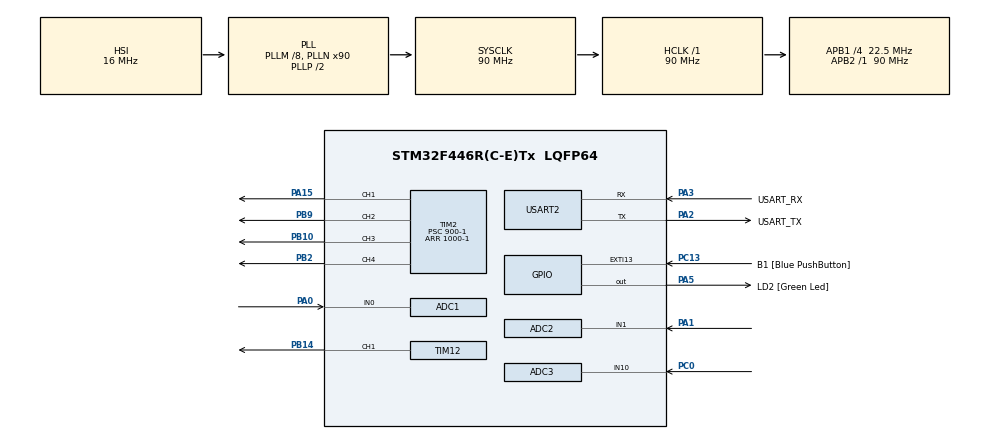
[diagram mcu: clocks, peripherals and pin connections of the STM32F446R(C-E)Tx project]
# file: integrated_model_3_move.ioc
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ADC1.Channel-0\#ChannelRegularConversion=ADC_CHANNEL_0
ADC1.ClockPrescaler=ADC_CLOCK_SYNC_PCLK_DIV4
ADC1.NbrOfConversionFlag=1
ADC1.Rank-0\#ChannelRegularConversion=1
ADC1.SamplingTime-0\#ChannelRegularConversion=ADC_SAMPLETIME_3CYCLES
ADC1.master=1
ADC2.Channel-0\#ChannelRegularConversion=ADC_CHANNEL_1
ADC2.ClockPrescaler=ADC_CLOCK_SYNC_PCLK_DIV4
ADC2.NbrOfConversionFlag=1
ADC2.Rank-0\#ChannelRegularConversion=1
ADC2.SamplingTime-0\#ChannelRegularConversion=ADC_SAMPLETIME_3CYCLES
ADC3.Channel-0\#ChannelRegularConversion=ADC_CHANNEL_10
ADC3.ClockPrescaler=ADC_CLOCK_SYNC_PCLK_DIV4
ADC3.NbrOfConversionFlag=1
ADC3.Rank-0\#ChannelRegularConversion=1
ADC3.SamplingTime-0\#ChannelRegularConversion=ADC_SAMPLETIME_3CYCLES
Mcu.Family=STM32F4
Mcu.Name=STM32F446R(C-E)Tx
Mcu.Package=LQFP64
NVIC.ADC_IRQn=true\:0\:0\:false\:false\:true\:true\:true\:true
NVIC.PriorityGroup=NVIC_PRIORITYGROUP_0
NVIC.TIM1_TRG_COM_TIM11_IRQn=true\:0\:0\:false\:false\:true\:true\:true\:true
NVIC.TIM1_UP_TIM10_IRQn=true\:0\:0\:false\:false\:true\:true\:true\:true
NVIC.TIM2_IRQn=true\:0\:0\:false\:false\:true\:true\:true\:true
NVIC.TIM8_BRK_TIM12_IRQn=true\:0\:0\:false\:false\:true\:true\:true\:true
NVIC.TIM8_TRG_COM_TIM14_IRQn=true\:0\:0\:false\:false\:true\:true\:true\:true
NVIC.TIM8_UP_TIM13_IRQn=true\:0\:0\:false\:false\:true\:true\:true\:true
PA0-WKUP.Signal=ADCx_IN0
PA1.Signal=ADCx_IN1
PA13.GPIO_Label=TMS
PA13.Mode=Serial_Wire
PA13.Signal=SYS_JTMS-SWDIO
PA14.GPIO_Label=TCK
PA14.Mode=Serial_Wire
PA14.Signal=SYS_JTCK-SWCLK
PA15.Signal=S_TIM2_CH1_ETR
PA2.GPIO_Label=USART_TX
PA2.Mode=Asynchronous
PA2.Signal=USART2_TX
PA3.GPIO_Label=USART_RX
PA3.Mode=Asynchronous
PA3.Signal=USART2_RX
PA5.GPIO_Label=LD2 [Green Led]
PA5.Signal=GPIO_Output
PB10.Signal=S_TIM2_CH3
PB14.Signal=S_TIM12_CH1
PB2.Signal=S_TIM2_CH4
PB3.GPIO_Label=SWO
PB3.Signal=SYS_JTDO-SWO
PB9.Signal=S_TIM2_CH2
PC0.Signal=ADCx_IN10
PC13.GPIO_Label=B1 [Blue PushButton]
PC13.GPIO_ModeDefaultEXTI=GPIO_MODE_IT_FALLING
PC13.Signal=GPXTI13
PC14-OSC32_IN.Mode=LSE-External-Oscillator
PC14-OSC32_IN.Signal=RCC_OSC32_IN
PC15-OSC32_OUT.Mode=LSE-External-Oscillator
PC15-OSC32_OUT.Signal=RCC_OSC32_OUT
PH0-OSC_IN.Mode=HSE-External-Oscillator
PH0-OSC_IN.Signal=RCC_OSC_IN
PH1-OSC_OUT.Mode=HSE-External-Oscillator
PH1-OSC_OUT.Signal=RCC_OSC_OUT
ProjectManager.HeapSize=0x800
ProjectManager.StackSize=0x800
ProjectManager.TargetToolchain=STM32CubeIDE
RCC.48MHZClocksFreq_Value=84000000
RCC.AHBFreq_Value=90000000
RCC.APB1CLKDivider=RCC_HCLK_DIV4
RCC.APB1Freq_Value=22500000
RCC.APB1TimFreq_Value=45000000
RCC.APB2Freq_Value=90000000
RCC.APB2TimFreq_Value=90000000
RCC.CortexFreq_Value=90000000
RCC.FLatency-AdvancedSettings=FLASH_LATENCY_2
RCC.HCLKFreq_Value=90000000
RCC.HSE_VALUE=8000000
RCC.HSI_VALUE=16000000
RCC.PLLM=8
RCC.PLLN=90
RCC.SYSCLKFreq_VALUE=90000000
RCC.SYSCLKSource=RCC_SYSCLKSOURCE_PLLCLK
RCC.USBFreq_Value=90000000
RCC.VCOOutputFreq_Value=180000000
SH.ADCx_IN0.0=ADC1_IN0,IN0
SH.ADCx_IN1.0=ADC2_IN1,IN1
SH.ADCx_IN10.0=ADC3_IN10,IN10
SH.S_TIM12_CH1.0=TIM12_CH1,PWM Generation1 CH1
SH.S_TIM2_CH1_ETR.0=TIM2_CH1,PWM Generation1 CH1
SH.S_TIM2_CH2.0=TIM2_CH2,PWM Generation2 CH2
SH.S_TIM2_CH3.0=TIM2_CH3,PWM Generation3 CH3
SH.S_TIM2_CH4.0=TIM2_CH4,PWM Generation4 CH4
STMicroelectronics.X-CUBE-AI.8.0.1.ActivationBufferSizeList=44
STMicroelectronics.X-CUBE-AI.8.0.1.ActivationBuffers=pool0
STMicroelectronics.X-CUBE-AI.8.0.1.ActivationNames=pool0
STMicroelectronics.X-CUBE-AI.8.0.1.ActivationSizes=AI_NETWORK_DATA_ACTIVATION_1_SIZE
STMicroelectronics.X-CUBE-AI.8.0.1.HeapSize=0x800
STMicroelectronics.X-CUBE-AI.8.0.1.InternalRamActivationBufferMaxSize=AI_NETWORK_DATA_ACTIVATIONS_SIZE
STMicroelectronics.X-CUBE-AI.8.0.1.LatestDirectoryUsed-6f806a7fb1cb1319f3afc56370bf73e45589293eab4fe6fbf59fcde3fcfce1cc=F\:\\Graduation Project\\3_Movements\\Model
STMicroelectronics.X-CUBE-AI.8.0.1.MaximumNumberOfInputLayer=1
STMicroelectronics.X-CUBE-AI.8.0.1.MaximumNumberOfOutputLayer=1
STMicroelectronics.X-CUBE-AI.8.0.1.MaximumSizeOfInputLayer=1
STMicroelectronics.X-CUBE-AI.8.0.1.MaximumSizeOfOutputLayer=1
STMicroelectronics.X-CUBE-AI.8.0.1.ModelActualCompression-6f806a7fb1cb1319f3afc56370bf73e45589293eab4fe6fbf59fcde3fcfce1cc=0.0
STMicroelectronics.X-CUBE-AI.8.0.1.ModelCompression-6f806a7fb1cb1319f3afc56370bf73e45589293eab4fe6fbf59fcde3fcfce1cc=None
STMicroelectronics.X-CUBE-AI.8.0.1.ModelFlashOccupation-6f806a7fb1cb1319f3afc56370bf73e45589293eab4fe6fbf59fcde3fcfce1cc=30932
STMicroelectronics.X-CUBE-AI.8.0.1.ModelHashList=6f806a7fb1cb1319f3afc56370bf73e45589293eab4fe6fbf59fcde3fcfce1cc
STMicroelectronics.X-CUBE-AI.8.0.1.ModelKind-6f806a7fb1cb1319f3afc56370bf73e45589293eab4fe6fbf59fcde3fcfce1cc=KERAS
STMicroelectronics.X-CUBE-AI.8.0.1.ModelMacc-6f806a7fb1cb1319f3afc56370bf73e45589293eab4fe6fbf59fcde3fcfce1cc=103
STMicroelectronics.X-CUBE-AI.8.0.1.ModelName-6f806a7fb1cb1319f3afc56370bf73e45589293eab4fe6fbf59fcde3fcfce1cc=network
STMicroelectronics.X-CUBE-AI.8.0.1.ModelNameList=network
STMicroelectronics.X-CUBE-AI.8.0.1.ModelRamOccupation-6f806a7fb1cb1319f3afc56370bf73e45589293eab4fe6fbf59fcde3fcfce1cc=44
STMicroelectronics.X-CUBE-AI.8.0.1.ModelStructureFile-6f806a7fb1cb1319f3afc56370bf73e45589293eab4fe6fbf59fcde3fcfce1cc=F\:\\Graduation Project\\3_Movements\\Model\\model_6_7_3_movement_2.h5
STMicroelectronics.X-CUBE-AI.8.0.1.ModelType-6f806a7fb1cb1319f3afc56370bf73e45589293eab4fe6fbf59fcde3fcfce1cc=Saved model
STMicroelectronics.X-CUBE-AI.8.0.1.ReadyForCodeGeneration=true
STMicroelectronics.X-CUBE-AI.8.0.1.StackSize=0x800
STMicroelectronics.X-CUBE-AI.8.0.1.WorkingBufferStartAddrList=0xFFFFFFFF
STMicroelectronics.X-CUBE-AI.8.0.1.XAaCUBEAaAICcArtificialOoIntelligenceJjCore=true
STMicroelectronics.X-CUBE-AI.8.0.1.copyWeightToRam=false
STMicroelectronics.X-CUBE-AI.8.0.1.copyWeightToRam-6f806a7fb1cb1319f3afc56370bf73e45589293eab4fe6fbf59fcde3fcfce1cc=false
STMicroelectronics.X-CUBE-AI.8.0.1.customLayerConfigEnabled=false
STMicroelectronics.X-CUBE-AI.8.0.1.customLayerConfigEnabled-6f806a7fb1cb1319f3afc56370bf73e45589293eab4fe6fbf59fcde3fcfce1cc=false
STMicroelectronics.X-CUBE-AI.8.0.1.useInputAllocation=true
STMicroelectronics.X-CUBE-AI.8.0.1.useInputAllocation-6f806a7fb1cb1319f3afc56370bf73e45589293eab4fe6fbf59fcde3fcfce1cc=true
STMicroelectronics.X-CUBE-AI.8.0.1.useOutputAllocation=true
STMicroelectronics.X-CUBE-AI.8.0.1.useOutputAllocation-6f806a7fb1cb1319f3afc56370bf73e45589293eab4fe6fbf59fcde3fcfce1cc=true
TIM12.Channel-PWM\ Generation1\ CH1=TIM_CHANNEL_1
TIM12.Period=1000-1
TIM12.Prescaler=900-1
TIM2.Channel-PWM\ Generation1\ CH1=TIM_CHANNEL_1
TIM2.Channel-PWM\ Generation2\ CH2=TIM_CHANNEL_2
TIM2.Channel-PWM\ Generation3\ CH3=TIM_CHANNEL_3
TIM2.Channel-PWM\ Generation4\ CH4=TIM_CHANNEL_4
TIM2.Period=1000-1
TIM2.Prescaler=900-1
USART2.VirtualMode=VM_ASYNC
VP_CRC_VS_CRC.Mode=CRC_Activate
VP_STMicroelectronics.X-CUBE-AI_VS_ArtificialOoIntelligenceJjXAaCUBEAaAI_8.0.1.Mode=ArtificialOoIntelligenceJjXAaCUBEAaAI
VP_TIM10_VS_ClockSourceINT.Mode=Enable_Timer
VP_TIM11_VS_ClockSourceINT.Mode=Enable_Timer
VP_TIM12_VS_ClockSourceINT.Mode=Internal
VP_TIM13_VS_ClockSourceINT.Mode=Enable_Timer
VP_TIM14_VS_ClockSourceINT.Mode=Enable_Timer
VP_TIM2_VS_ClockSourceINT.Mode=Internal
board=NUCLEO-F446RE

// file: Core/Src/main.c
/* USER CODE BEGIN Header */
/**
 **************************
 * @file           : main.c
 * @brief          : Main program body
 **************************
 * @attention
 *
 * Copyright (c) 2023 STMicroelectronics.
 * All rights reserved.
 *
 * This software is licensed under terms that can be found in the LICENSE file
 * in the root directory of this software component.
 * If no LICENSE file comes with this software, it is provided AS-IS.
 *
 **************************
 */
/* USER CODE END Header */
#include "main.h"
#include "adc.h"
#include "crc.h"
#include "tim.h"
#include "usart.h"
#include "gpio.h"

/* USER CODE BEGIN Includes */
#include "PWM.h"
#include "MAPPING.h"
#include "servo.h"
#include "FEAT_EXT.h"
#include "NORM_interface.h"

#include "sensor_readings.h"
#include "app_x-cube-ai.h"

#include <stdio.h>

#include "network.h"
#include "network_data.h"
/* USER CODE END Includes */

/* USER CODE BEGIN PTD */
typedef enum
{
	RMS_IDX,
	VAR_IDX,
	MEAN_IDX,
	SSC_INDX,
	ZC_IDX,
	WVL_IDX
}Model_Idx;

/* USER CODE END PTD */

/* USER CODE BEGIN PD */
#define Vth 				40

#define MODEL_THRESHOLD		0.5

/* USER CODE END PD */

/* USER CODE BEGIN PV */
uint32_t sensor1;
uint32_t sensor2;
uint32_t sensor3;
uint32_t sensor;
uint32_t Fest,Gun,Rest;

int32_t Mode = 0;
/* USER CODE END PV */

void SystemClock_Config(void);

/* USER CODE BEGIN 0 */
void HAL_TIM_PeriodElapsedCallback(TIM_HandleTypeDef *htim)
{
	if (htim->Instance == TIM10)
	{
		HAL_GPIO_TogglePin(GPIOA, GPIO_PIN_5);
	}
	else if (htim->Instance == TIM11)
	{
		HAL_GPIO_TogglePin(GPIOA, GPIO_PIN_5);
	}

	else if (htim->Instance == TIM13)
	{
		HAL_GPIO_TogglePin(GPIOA, GPIO_PIN_5);
	}
	else if (htim->Instance == TIM14)
	{
		HAL_GPIO_TogglePin(GPIOA, GPIO_PIN_5);
	}
}

/********	Global Variables	********/
static ai_handle network = AI_HANDLE_NULL;

AI_ALIGNED(32)
static ai_u8 activations[AI_NETWORK_DATA_ACTIVATIONS_SIZE];

AI_ALIGNED(32)
static ai_float in_data[AI_NETWORK_IN_1_SIZE];

AI_ALIGNED(32)
static ai_float out_data[AI_NETWORK_OUT_1_SIZE];

static ai_buffer *ai_input;
static ai_buffer *ai_output;

int Model_Init(void)
{
	ai_error err;
	const ai_handle acts[] = { activations };
	err = ai_network_create_and_init(&network, acts, NULL);

	ai_input = ai_network_inputs_get(network, NULL);
	ai_output = ai_network_outputs_get(network, NULL);

	return 0;
}

int Model_Run(const void *in_data, void *out_data)
{
	ai_i32 n_batch;
	ai_error err;

	/* 1 - Update IO handlers with the data payload */
	ai_input[0].data = AI_HANDLE_PTR(in_data);
	ai_output[0].data = AI_HANDLE_PTR(out_data);

	/* 2 - Perform the inference */
	n_batch = ai_network_run(network, &ai_input[0], &ai_output[0]);
	if (n_batch != 1) {
		err = ai_network_get_error(network);
	};

	return 0;
}
/* USER CODE END 0 */

int main(void)
{
  /* USER CODE BEGIN 1 */
	uint32_t Local_u32Counter,Local_u32_RealData[250],Local_u32AvgCounter;

	uint8_t Local_u8Avg = 5;
	uint8_t Local_u8Max,Local_u8ModeArr[Local_u8Avg],Local_u8Sum=0;
  /* USER CODE END 1 */

  /* MCU Configuration--------------------------------------------------------*/

  /* Reset of all peripherals, Initializes the Flash interface and the Systick. */
  HAL_Init();

  /* Configure the system clock */
  SystemClock_Config();

  /* Initialize all configured peripherals */
  MX_GPIO_Init();
  MX_USART2_UART_Init();
  MX_ADC1_Init();
  MX_ADC2_Init();
  MX_ADC3_Init();
  MX_CRC_Init();
  MX_TIM2_Init();
  MX_TIM10_Init();
  MX_TIM11_Init();
  MX_TIM12_Init();
  MX_TIM13_Init();
  MX_TIM14_Init();
  /* USER CODE BEGIN 2 */
	Model_Init();

	/* Start GPs Timers */
	HAL_TIM_Base_Start_IT(&htim10);
	HAL_TIM_Base_Start_IT(&htim11);
	HAL_TIM_Base_Start_IT(&htim13);
	HAL_TIM_Base_Start_IT(&htim14);

	/* Initialize PWM Timers*/
	HAL_TIM_PWM_Start(&htim2, TIM_CHANNEL_1);
	HAL_TIM_PWM_Start(&htim2, TIM_CHANNEL_2);
	HAL_TIM_PWM_Start(&htim2, TIM_CHANNEL_3);
	HAL_TIM_PWM_Start(&htim2, TIM_CHANNEL_4);
	HAL_TIM_PWM_Start(&htim12, TIM_CHANNEL_1);

	SERVO_t Servo1,Servo2,Servo3,Servo4,Servo5;
	Servo1.Pin = Servo_PA15;
	Servo2.Pin = Servo_PB10;
	Servo3.Pin = Servo_PB14;
	Servo4.Pin = Servo_PB2;
	Servo5.Pin = Servo_PB9;

	/*********	Testing	*********/
	uint32_t Move2[250] = {0};
	uint32_t Move1[250] = {
			664,  167,   13,   82,  340,  865,  469,  663,  144,  316,   15,
			356,  513,  560,  258,  108,  409,  456,  110,  383,  240,  227,
			314,  866, 1667,  156,  419,  760,   32,  441,  432,  307,  294,
			169,  234,  436,  703,  391,   82,  345,  100,  131,   58,  362,
			222,  323,   47,   41,   40,  273,  141,  405,  805,  471,  468,
			11,  127,  344,  178,  107,    5,  329,   80,   46,  190,    5,
			411,   64,   65,  180,  133,  367,  590,  196,   61,   11,  170,
			144,  454,  460,  188,  431,  112,  375,  208,  198,  139,    2,
			131,   52,   39,  155,   38,  137,  289,  535,  144,  305,  387,
			163, 1396,   43,  178,  219,  563,  268,  846,   62,  224,   37,
			318,  126,  535,  126,  221,  123,   41,    4,  100,  156,  514,
			145,  116,  159,   29,  171,   39,   66,  182,  332,   63,   85,
			7,  112,   58,   81,  130,  192,  198,  609,   57,  108,   15,
			106,  111,   92,   55,  100,  207,   88,  228,  254,   98,  250,
			63,    4,   80,  271,  228,   11,    1,   71,   95,   15,  656,
			275,  164,  150,  729,   85,   54,   71,   44,   34,   93,  220,
			86,  309,  428,   39,  285,  440,   86,  203,  254,   79,  156,
			12,  582,  275,  235,  481,   99,  190,    2,   93,  176,   96,
			250,  333,  269,   94,  346,  757,   43,  475,  179,  474,  198,
			227,  353,  159,   27,  233,   95,  407,  248,  152,  249,   68,
			276,   79,    5,  217,   95,   29,    8,  104,   20,  156,  189,
			146,   93,  125,   96,    5,  160,   51, 1495, 1831,   71,  599,
			181,  250,  219,  246,   47,  213,   23,  225
	};

	uint32_t Move0[250] = {
			4095, 3049, 1888, 3524, 2946, 3305,  531,  212, 1999,   56,  773,
			1270, 1214, 1460,   50,  267,  630,   17, 4095,  881, 1611, 2029,
			1503,  836,  640, 1385,  467,  376, 2873, 1013,  869, 3241,  454,
			344,  726,  139,  907, 3295, 1060,  527,  734, 1853,   52, 1474,
			616, 3453, 1117, 1163, 2207,  707, 1095,  292,  604,  962,  904,
			643,  649,  282,  175,  345,  964,  170,  788, 1128,   34,   88,
			141, 2421,  785,   73, 1578,  584, 1901, 1783, 4095,  718,  109,
			1793, 1538,  460, 4095,  546, 2150,  296, 1203,  199,   52, 1107,
			1417,  929,    2,  211,  254,  549,  961,  823, 3853,  288,  191,
			1833,  262, 1810, 1041,   23,   12, 3060, 1461, 1666,  761,   35,
			432,  208, 1128,  620,  545,  251,  745, 1076,  516,  417,  129,
			1801, 1991,  234,  248,  100, 1589,  121,   25,  341,  525,   95,
			120,    3,  202, 1146, 1117,   99, 1322,  228,  789, 1373, 1299,
			156,   69,   96, 1208,  303,  949,  673,  181,  839, 1386,  414,
			68, 1749,   86,  299,  136,  690,  178, 1502,  524,  506, 1095,
			2389,  133, 1176, 1975, 3978, 2293,  400, 1465,  609, 2374,  736,
			85,   32,  229, 4067, 1148,  256, 4095, 1698,  264,   97, 3905,
			701,  367,  373, 1919, 1249,  717,  680, 1513,  695,  404, 1988,
			625,    4,  245,  526,  509, 2131,  149,  710, 2110, 1908, 2841,
			279,  240,  661,  126,  565,  741,  442,   97, 1925, 2086, 4095,
			543,  641,  755,  385, 1141,   90,  132,   96, 1137, 1127,  696,
			328,  510,  628,   87,  684,  498, 2007,   72, 1383,  149,  681,
			1653, 1915, 1364,  662,  554,  248,  919,   71
	};
	float Feat_Arr[6],Norm_Arr[6];

	/*Feature Extraction*/
	Feat_Arr[VAR_IDX]	= FEAT_EXT_f32_Variance(Move2,250);
	Feat_Arr[RMS_IDX]   = FEAT_EXT_f32_RMS(Feat_Arr[VAR_IDX]);
	Feat_Arr[MEAN_IDX]  = FEAT_EXT_f32_MeanAbsolute(Move2,250);
	Feat_Arr[SSC_INDX]  = FEAT_EXT_u32_SlopeSignChange(Move2,250);
	Feat_Arr[ZC_IDX]    = FEAT_EXT_u32_ZeroCrossing(Move2,250);
	Feat_Arr[WVL_IDX]   = FEAT_EXT_u32_WaveformLength(Move2,250);

	/*Normalization*/
	Norm_Arr[VAR_IDX]  = NORM_f32_Variance(SNS1, Feat_Arr[VAR_IDX]);
	Norm_Arr[RMS_IDX]  = NORM_f32_RMS(SNS1, Feat_Arr[RMS_IDX]);
	Norm_Arr[MEAN_IDX] = NORM_f32_Mean(SNS1, Feat_Arr[MEAN_IDX]);
	Norm_Arr[SSC_INDX] = NORM_f32_SlopeSignChange(SNS1,Feat_Arr[SSC_INDX]);
	Norm_Arr[ZC_IDX]   = NORM_f32_ZeroCrossing(SNS1,Feat_Arr[ZC_IDX]);
	Norm_Arr[WVL_IDX]  = NORM_f32_WaveformLength(SNS1, Feat_Arr[WVL_IDX]);

	/*Model Running*/

	/*Movement 1 Data*/
	in_data[RMS_IDX]  = Norm_Arr[RMS_IDX];
	in_data[VAR_IDX]  = Norm_Arr[VAR_IDX];
	in_data[MEAN_IDX] = Norm_Arr[MEAN_IDX];
	in_data[SSC_INDX] = Norm_Arr[SSC_INDX];
	in_data[ZC_IDX]   = Norm_Arr[ZC_IDX];
	in_data[WVL_IDX]  = Norm_Arr[WVL_IDX];

	Model_Run(in_data, out_data);

	Local_u8Max = 0;
	for(int i = 0 ;i < 3; i++)
	{
		if(out_data[i] > out_data[Local_u8Max])
		{
			Local_u8Max = i;
		}
	}

  /* USER CODE END 2 */

  /* Infinite loop */
	while (1)
	{

    /* USER CODE BEGIN 3 */
		//		for(Local_u32AvgCounter = 0 ; Local_u32AvgCounter < Local_u8Avg ; Local_u32AvgCounter++)
		//		{
		for(Local_u32Counter = 0 ;Local_u32Counter < 250;)
		{
			//			if(sensor != 0)
			//			{
			sensor = analogRead(&hadc1);
			Local_u32_RealData[Local_u32Counter++]= sensor;
			HAL_Delay(2);
			//			}
		}

		/*Feature Extraction*/
		Feat_Arr[VAR_IDX]	= FEAT_EXT_f32_Variance(Local_u32_RealData,250);
		Feat_Arr[RMS_IDX]   = FEAT_EXT_f32_RMS(Feat_Arr[VAR_IDX]);
		Feat_Arr[MEAN_IDX]  = FEAT_EXT_f32_MeanAbsolute(Local_u32_RealData,250);
		Feat_Arr[SSC_INDX]  = FEAT_EXT_u32_SlopeSignChange(Local_u32_RealData,250);
		Feat_Arr[ZC_IDX]    = FEAT_EXT_u32_ZeroCrossing(Local_u32_RealData,250);
		Feat_Arr[WVL_IDX]   = FEAT_EXT_u32_WaveformLength(Local_u32_RealData,250);

		/*Normalization*/
		Norm_Arr[VAR_IDX]  = NORM_f32_Variance(SNS1, Feat_Arr[VAR_IDX]);
		Norm_Arr[RMS_IDX]  = NORM_f32_RMS(SNS1, Feat_Arr[RMS_IDX]);
		Norm_Arr[MEAN_IDX] = NORM_f32_Mean(SNS1, Feat_Arr[MEAN_IDX]);
		Norm_Arr[SSC_INDX] = NORM_f32_SlopeSignChange(SNS1,Feat_Arr[SSC_INDX]);
		Norm_Arr[ZC_IDX]   = NORM_f32_ZeroCrossing(SNS1,Feat_Arr[ZC_IDX]);
		Norm_Arr[WVL_IDX]  = NORM_f32_WaveformLength(SNS1, Feat_Arr[WVL_IDX]);

		/*Model Running*/

		/*Movement 1 Data*/
		in_data[RMS_IDX]  = Norm_Arr[RMS_IDX];
		in_data[VAR_IDX]  = Norm_Arr[VAR_IDX];
		in_data[MEAN_IDX] = Norm_Arr[MEAN_IDX];
		in_data[SSC_INDX] = Norm_Arr[SSC_INDX];
		in_data[ZC_IDX]   = Norm_Arr[ZC_IDX];
		in_data[WVL_IDX]  = Norm_Arr[WVL_IDX];

		Model_Run(in_data, out_data);
		Local_u8Max = 0;
		for(int i = 0 ;i < 3; i++)
		{
			if(out_data[i] > out_data[Local_u8Max])
			{
				Local_u8Max = i;
			}
		}
		if(Local_u8Max == 0)
		{
			Servo_void_SetAngle(Servo1,100);
			Servo_void_SetAngle(Servo2,120);
			Servo_void_SetAngle(Servo3,170);
			Servo_void_SetAngle(Servo4,20);
			Servo_void_SetAngle(Servo5,120);

			Fest = 100;
			Gun = 0;
			Rest = 0;
		}
		else if(Local_u8Max == 1)
		{
			Servo_void_SetAngle(Servo1,170);
			Servo_void_SetAngle(Servo2,40);
			Servo_void_SetAngle(Servo3,190);
			Servo_void_SetAngle(Servo4,10);
			Servo_void_SetAngle(Servo5,140);

			Fest = 0;
			Gun = 100;
			Rest = 0;
		}
		else
		{
			Servo_void_SetAngle(Servo1,150);
			Servo_void_SetAngle(Servo2,60);
			Servo_void_SetAngle(Servo3,80);
			Servo_void_SetAngle(Servo4,80);
			Servo_void_SetAngle(Servo5,70);
			Fest = 0;
			Gun = 0;
			Rest = 100;
		}

		//			Local_u8ModeArr[Local_u32AvgCounter] = Local_u8Max;
		//			Local_u8Sum +=Local_u8Max;

		//			if(Local_u8Max == 0)
		//			{
		//				Mode +=3;
		//			}
		//			else if(Local_u8Max == 1)
		//			{
		//				Mode+=5;
		//			}
		//			else
		//			{
		//				Mode+=9;
		//			}
		//		}

		//		if( Mode == 15)
		//		{
		//			if(Local_u8Sum == 2)
		//			{
		//				Fest = 100;
		//				Gun = 0;
		//				Rest = 0;
		//			}
		//		}
		//		else if((Mode >= 13) && (Mode <= 19))
		//		{
		//			Fest = 0;
		//			Gun = 100;
		//			Rest = 0;

		//		}
		//		else
		//		{
		//			Fest = 0;
		//			Gun = 0;
		//			Rest = 100;
		//		}
		HAL_Delay(500);
		Mode = 0;
		Local_u8Sum = 0;

	}
  /* USER CODE END 3 */
}

void SystemClock_Config(void)
{
  RCC_OscInitTypeDef RCC_OscInitStruct = {0};
  RCC_ClkInitTypeDef RCC_ClkInitStruct = {0};

  /** Configure the main internal regulator output voltage
  */
  __HAL_RCC_PWR_CLK_ENABLE();
  __HAL_PWR_VOLTAGESCALING_CONFIG(PWR_REGULATOR_VOLTAGE_SCALE3);

  /** Initializes the RCC Oscillators according to the specified parameters
  * in the RCC_OscInitTypeDef structure.
  */
  RCC_OscInitStruct.OscillatorType = RCC_OSCILLATORTYPE_HSI;
  RCC_OscInitStruct.HSIState = RCC_HSI_ON;
  RCC_OscInitStruct.HSICalibrationValue = RCC_HSICALIBRATION_DEFAULT;
  RCC_OscInitStruct.PLL.PLLState = RCC_PLL_ON;
  RCC_OscInitStruct.PLL.PLLSource = RCC_PLLSOURCE_HSI;
  RCC_OscInitStruct.PLL.PLLM = 8;
  RCC_OscInitStruct.PLL.PLLN = 90;
  RCC_OscInitStruct.PLL.PLLP = RCC_PLLP_DIV2;
  RCC_OscInitStruct.PLL.PLLQ = 2;
  RCC_OscInitStruct.PLL.PLLR = 2;
  if (HAL_RCC_OscConfig(&RCC_OscInitStruct) != HAL_OK)
  {
    Error_Handler();
  }

  /** Initializes the CPU, AHB and APB buses clocks
  */
  RCC_ClkInitStruct.ClockType = RCC_CLOCKTYPE_HCLK|RCC_CLOCKTYPE_SYSCLK
                              |RCC_CLOCKTYPE_PCLK1|RCC_CLOCKTYPE_PCLK2;
  RCC_ClkInitStruct.SYSCLKSource = RCC_SYSCLKSOURCE_PLLCLK;
  RCC_ClkInitStruct.AHBCLKDivider = RCC_SYSCLK_DIV1;
  RCC_ClkInitStruct.APB1CLKDivider = RCC_HCLK_DIV4;
  RCC_ClkInitStruct.APB2CLKDivider = RCC_HCLK_DIV1;

  if (HAL_RCC_ClockConfig(&RCC_ClkInitStruct, FLASH_LATENCY_2) != HAL_OK)
  {
    Error_Handler();
  }
}

void Error_Handler(void)
{
	__disable_irq();
	while (1)
	{
	}
}
